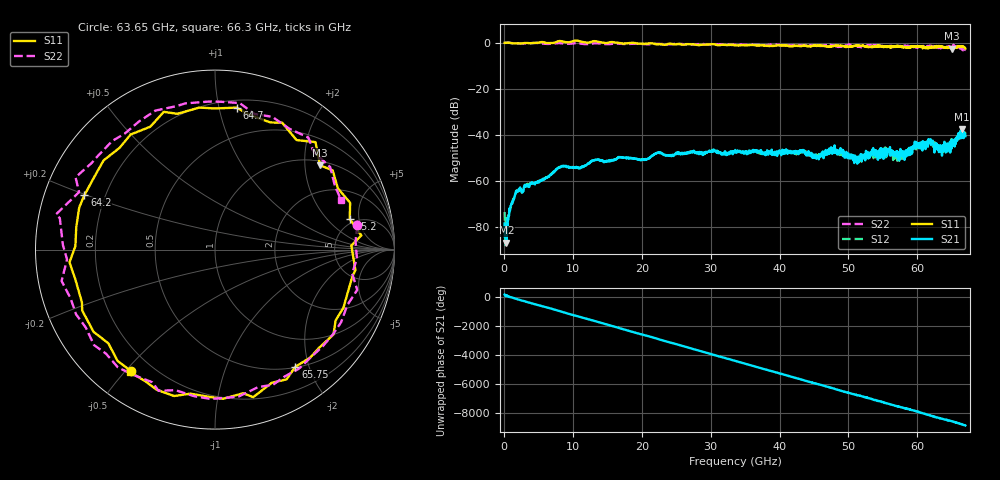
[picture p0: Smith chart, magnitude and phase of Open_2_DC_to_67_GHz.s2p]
#  HZ  S  MA  R  50.00
! Rohde & Schwarz ZVA67 4Ports - Version 4.11 - 1305.7002k04 SN: 101051
! Date: 2023-05-31 11:08:35
! Measurements: S11 S21 S12 S22
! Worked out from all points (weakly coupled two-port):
!   1340 points, 50 MHz to 67 GHz, reference 50 ohm
!   highest |S21| = -37.48 dB at 66.45 GHz (marker M1); lowest = -87.0 dB at 300 MHz (marker M2)
!   lowest |S11| = -2.5 dB at 65 GHz (marker M3), VSWR 7.02, Z = 55.6 + j120 ohm
!   |S11| at or under -10 dB: nowhere
!   |S22| runs from -3.6 to 0.1 dB; largest |S21 - S12| = 0.005
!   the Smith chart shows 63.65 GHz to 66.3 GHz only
!   S11 on the Smith chart (normalised r, x): 63.65 GHz: 0.12, -0.52; 64.2 GHz: 0.12, +0.20; 64.7 GHz: 0.26, +1.13; 65.2 GHz: 4.48, +3.74; 65.75 GHz: 0.51, -1.79; 66.3 GHz: 0.12, -0.52
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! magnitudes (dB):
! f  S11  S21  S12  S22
! 50 MHz  0.0  -78.6  -73.6  0.0
! 300 MHz  0.1  -87.0  -85.1  0.1
! 2 GHz  -0.2  -64.6  -64.4  -0.2
! 8.25 GHz  0.8  -53.9  -54.0  -0.1
! 11.25 GHz  0.5  -53.9  -54.1  -0.4
! 22.4 GHz  -0.6  -47.8  -47.8  -0.4
! 33.55 GHz  -1.1  -46.6  -47.2  -0.7
! 44.7 GHz  -1.4  -49.8  -49.1  -1.0
! 47.8 GHz  -1.4  -47.8  -47.0  -1.2
! 51.35 GHz  -1.3  -50.9  -51.2  -1.4
! 55.85 GHz  -1.7  -47.3  -47.2  -1.5
! 57.7 GHz  -1.8  -48.3  -49.7  -1.4
! 61.9 GHz  -1.8  -42.9  -43.2  -1.4
! 63.65 GHz  -1.7  -46.2  -46.6  -1.9
! 64.2 GHz  -2.1  -45.6  -46.1  -1.9
! 64.7 GHz  -1.9  -44.0  -44.8  -1.6
! 65 GHz  -2.5  -45.9  -45.3  -1.4
! 65.2 GHz  -2.3  -43.6  -44.2  -1.1
! 65.75 GHz  -2.0  -40.9  -40.2  -1.6
! 66.3 GHz  -1.6  -41.6  -39.7  -2.4
! 66.45 GHz  -1.8  -37.5  -39.6  -2.5
! 67 GHz  -2.5  -40.6  -39.8  -2.8
